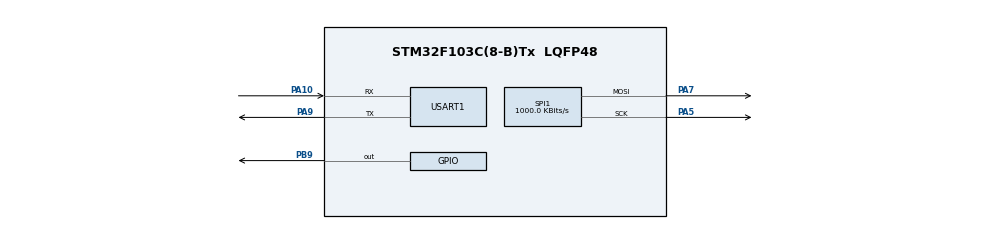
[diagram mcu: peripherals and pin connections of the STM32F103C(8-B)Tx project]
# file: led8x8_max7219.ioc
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Mcu.Family=STM32F1
Mcu.Name=STM32F103C(8-B)Tx
Mcu.Package=LQFP48
NVIC.PriorityGroup=NVIC_PRIORITYGROUP_4
PA10.Mode=Asynchronous
PA10.Signal=USART1_RX
PA13.Mode=Serial_Wire
PA13.Signal=SYS_JTMS-SWDIO
PA14.Mode=Serial_Wire
PA14.Signal=SYS_JTCK-SWCLK
PA5.Mode=TX_Only_Simplex_Unidirect_Master
PA5.Signal=SPI1_SCK
PA7.Mode=TX_Only_Simplex_Unidirect_Master
PA7.Signal=SPI1_MOSI
PA9.Mode=Asynchronous
PA9.Signal=USART1_TX
PB9.Signal=GPIO_Output
PD0-OSC_IN.Mode=HSE-External-Oscillator
PD0-OSC_IN.Signal=RCC_OSC_IN
PD1-OSC_OUT.Mode=HSE-External-Oscillator
PD1-OSC_OUT.Signal=RCC_OSC_OUT
ProjectManager.HeapSize=0x200
ProjectManager.StackSize=0x400
ProjectManager.TargetToolchain=STM32CubeIDE
RCC.APB1Freq_Value=8000000
RCC.APB2Freq_Value=8000000
SPI1.BaudRatePrescaler=SPI_BAUDRATEPRESCALER_8
SPI1.CalculateBaudRate=1000.0 KBits/s
SPI1.Direction=SPI_DIRECTION_2LINES
SPI1.Mode=SPI_MODE_MASTER
SPI1.VirtualType=VM_MASTER
USART1.VirtualMode=VM_ASYNC
board=custom

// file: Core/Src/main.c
/* USER CODE BEGIN Header */
/**
  ******************************************************************************
  * @file           : main.c
  * @brief          : Main program body
  ******************************************************************************
  * @attention
  *
  * Copyright (c) 2025 STMicroelectronics.
  * All rights reserved.
  *
  * This software is licensed under terms that can be found in the LICENSE file
  * in the root directory of this software component.
  * If no LICENSE file comes with this software, it is provided AS-IS.
  *
  ******************************************************************************
  */
/* USER CODE END Header */
#include "main.h"

/* USER CODE BEGIN Includes */
#include "max7219.h"
#include "max7219_matrix.h"

/* USER CODE END Includes */

SPI_HandleTypeDef hspi1;

UART_HandleTypeDef huart1;

void SystemClock_Config(void);
static void MX_GPIO_Init(void);
static void MX_SPI1_Init(void);
static void MX_USART1_UART_Init(void);

int main(void)
{

  /* MCU Configuration--------------------------------------------------------*/

  /* Reset of all peripherals, Initializes the Flash interface and the Systick. */
  HAL_Init();

  /* Configure the system clock */
  SystemClock_Config();

  /* Initialize all configured peripherals */
  MX_GPIO_Init();
  MX_SPI1_Init();
  MX_USART1_UART_Init();
  /* USER CODE BEGIN 2 */
  MAX7219_MatrixInit(&hspi1, GPIOB, GPIO_PIN_9);
  MAX7219_MatrixUpdate();

  /* USER CODE END 2 */

  /* Infinite loop */
  while (1)
  {

    /* USER CODE BEGIN 3 */
	/* TIME */
	MAX7219_MatrixSetRow64(0, CHR('B'));
	MAX7219_MatrixSetRow64(1, CHR('O'));
	MAX7219_MatrixSetRow64(2, CHR('M'));
	MAX7219_MatrixSetRow64(3, CHR('B'));
	MAX7219_MatrixUpdate();
	HAL_Delay(3000);

	for(int i = 1000; i >= 0; i--)
	{
		int temp = (i / 1000) % 10;
		MAX7219_MatrixSetRow64(0, numbers[temp]);
		temp = (i / 100) % 10;
		MAX7219_MatrixSetRow64(1, numbers[temp]);
		temp = (i / 10) % 10;
		MAX7219_MatrixSetRow64(2, numbers[temp]);
		temp = i % 10;
		MAX7219_MatrixSetRow64(3, numbers[temp]);
		MAX7219_MatrixUpdate();
		HAL_Delay(10);
	}

	MAX7219_MatrixSetRow64(0, CHR('B'));
	MAX7219_MatrixSetRow64(1, CHR('A'));
	MAX7219_MatrixSetRow64(2, CHR('N'));
	MAX7219_MatrixSetRow64(3, CHR('G'));
	MAX7219_MatrixUpdate();
	HAL_Delay(3000);

	for(int i = 0; i < 24; i++)
	{
		MAX7219_MatrixLShift(1);
		MAX7219_MatrixUpdate();
		HAL_Delay(100);
	}

	for(int i = 0; i < 24; i++)
	{
		MAX7219_MatrixRShift(1);
		MAX7219_MatrixUpdate();
		HAL_Delay(100);
	}
	HAL_Delay(3000);

  }
  /* USER CODE END 3 */
}

void SystemClock_Config(void)
{
  RCC_OscInitTypeDef RCC_OscInitStruct = {0};
  RCC_ClkInitTypeDef RCC_ClkInitStruct = {0};

  /** Initializes the RCC Oscillators according to the specified parameters
  * in the RCC_OscInitTypeDef structure.
  */
  RCC_OscInitStruct.OscillatorType = RCC_OSCILLATORTYPE_HSI;
  RCC_OscInitStruct.HSIState = RCC_HSI_ON;
  RCC_OscInitStruct.HSICalibrationValue = RCC_HSICALIBRATION_DEFAULT;
  RCC_OscInitStruct.PLL.PLLState = RCC_PLL_NONE;
  if (HAL_RCC_OscConfig(&RCC_OscInitStruct) != HAL_OK)
  {
    Error_Handler();
  }

  /** Initializes the CPU, AHB and APB buses clocks
  */
  RCC_ClkInitStruct.ClockType = RCC_CLOCKTYPE_HCLK|RCC_CLOCKTYPE_SYSCLK
                              |RCC_CLOCKTYPE_PCLK1|RCC_CLOCKTYPE_PCLK2;
  RCC_ClkInitStruct.SYSCLKSource = RCC_SYSCLKSOURCE_HSI;
  RCC_ClkInitStruct.AHBCLKDivider = RCC_SYSCLK_DIV1;
  RCC_ClkInitStruct.APB1CLKDivider = RCC_HCLK_DIV1;
  RCC_ClkInitStruct.APB2CLKDivider = RCC_HCLK_DIV1;

  if (HAL_RCC_ClockConfig(&RCC_ClkInitStruct, FLASH_LATENCY_0) != HAL_OK)
  {
    Error_Handler();
  }
}

static void MX_SPI1_Init(void)
{

  /* SPI1 parameter configuration*/
  hspi1.Instance = SPI1;
  hspi1.Init.Mode = SPI_MODE_MASTER;
  hspi1.Init.Direction = SPI_DIRECTION_2LINES;
  hspi1.Init.DataSize = SPI_DATASIZE_8BIT;
  hspi1.Init.CLKPolarity = SPI_POLARITY_LOW;
  hspi1.Init.CLKPhase = SPI_PHASE_1EDGE;
  hspi1.Init.NSS = SPI_NSS_SOFT;
  hspi1.Init.BaudRatePrescaler = SPI_BAUDRATEPRESCALER_8;
  hspi1.Init.FirstBit = SPI_FIRSTBIT_MSB;
  hspi1.Init.TIMode = SPI_TIMODE_DISABLE;
  hspi1.Init.CRCCalculation = SPI_CRCCALCULATION_DISABLE;
  hspi1.Init.CRCPolynomial = 10;
  if (HAL_SPI_Init(&hspi1) != HAL_OK)
  {
    Error_Handler();
  }

}

static void MX_USART1_UART_Init(void)
{

  huart1.Instance = USART1;
  huart1.Init.BaudRate = 115200;
  huart1.Init.WordLength = UART_WORDLENGTH_8B;
  huart1.Init.StopBits = UART_STOPBITS_1;
  huart1.Init.Parity = UART_PARITY_NONE;
  huart1.Init.Mode = UART_MODE_TX_RX;
  huart1.Init.HwFlowCtl = UART_HWCONTROL_NONE;
  huart1.Init.OverSampling = UART_OVERSAMPLING_16;
  if (HAL_UART_Init(&huart1) != HAL_OK)
  {
    Error_Handler();
  }

}

static void MX_GPIO_Init(void)
{
  GPIO_InitTypeDef GPIO_InitStruct = {0};

  /* GPIO Ports Clock Enable */
  __HAL_RCC_GPIOD_CLK_ENABLE();
  __HAL_RCC_GPIOA_CLK_ENABLE();
  __HAL_RCC_GPIOB_CLK_ENABLE();

  /*Configure GPIO pin Output Level */
  HAL_GPIO_WritePin(GPIOB, GPIO_PIN_9, GPIO_PIN_RESET);

  /*Configure GPIO pin : PB9 */
  GPIO_InitStruct.Pin = GPIO_PIN_9;
  GPIO_InitStruct.Mode = GPIO_MODE_OUTPUT_PP;
  GPIO_InitStruct.Pull = GPIO_NOPULL;
  GPIO_InitStruct.Speed = GPIO_SPEED_FREQ_LOW;
  HAL_GPIO_Init(GPIOB, &GPIO_InitStruct);

}

void Error_Handler(void)
{
  __disable_irq();
  while (1)
  {
  }
}
